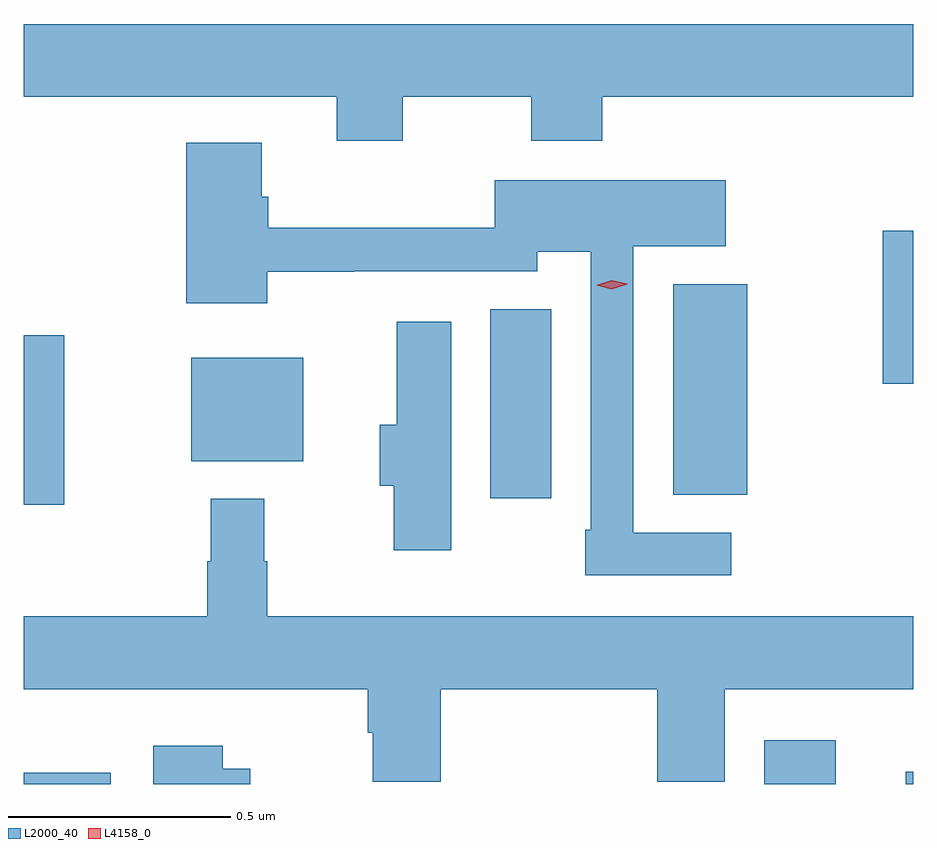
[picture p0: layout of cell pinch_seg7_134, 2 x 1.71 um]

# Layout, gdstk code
import gdstk
lib = gdstk.Library(unit=1e-6, precision=1e-09)
def R(c, l, rs):  # rectangles x0, y0, x1, y1
    for r in rs: c.add(gdstk.rectangle(r[:2], r[2:], *l))
def P(c, l, *ps):  # polygons
    for p in ps: c.add(gdstk.Polygon(p, *l))
L2000_40 = (2000, 40)
L4158_0 = (4158, 0)

pinch_seg7_134 = lib.new_cell('pinch_seg7_134')
R(pinch_seg7_134, L2000_40, [(898.011,1004.399,898.206,1004.424), (899.676,1004.399,899.837,1004.497), (899.994,1004.399,900.011,1004.426), (898.011,1005.027,898.102,1005.408), (899.06,1005.042,899.197,1005.467), (899.471,1005.049,899.638,1005.523), (898.388,1005.125,898.639,1005.358), (899.942,1005.299,900.011,1005.643)])
P(pinch_seg7_134, L2000_40, [(898.863,1005.944),(899.152,1005.944),(899.152,1005.845),(899.312,1005.845),(899.312,1005.944),(900.011,1005.944),(900.011,1006.108),(898.011,1006.108),(898.011,1005.944),(898.715,1005.944),(898.715,1005.845),(898.863,1005.845)],
  [(899.602,1004.964),(899.382,1004.964),(899.382,1005.608),(899.59,1005.608),(899.59,1005.757),(899.07,1005.757),(899.07,1005.65),(898.561,1005.65),(898.561,1005.72),(898.546,1005.72),(898.546,1005.841),(898.376,1005.841),(898.376,1005.48),(898.559,1005.48),(898.559,1005.551),(898.754,1005.551),(898.754,1005.552),(899.166,1005.552),(899.166,1005.596),(899.286,1005.596),(899.286,1004.971),(899.274,1004.971),(899.274,1004.868),(899.602,1004.868)],
  [(898.972,1005.439),(898.85,1005.439),(898.85,1005.207),(898.811,1005.207),(898.811,1005.07),(898.843,1005.07),(898.843,1004.925),(898.972,1004.925)],
  [(898.949,1004.612),(899.435,1004.612),(899.435,1004.404),(899.587,1004.404),(899.587,1004.612),(900.011,1004.612),(900.011,1004.776),(898.559,1004.776),(898.559,1004.9),(898.552,1004.9),(898.552,1005.04),(898.431,1005.04),(898.431,1004.9),(898.423,1004.9),(898.423,1004.776),(898.011,1004.776),(898.011,1004.612),(898.784,1004.612),(898.784,1004.514),(898.796,1004.514),(898.796,1004.404),(898.949,1004.404)],
  [(898.52,1004.433),(898.458,1004.433),(898.458,1004.485),(898.302,1004.485),(898.302,1004.399),(898.52,1004.399)])
P(pinch_seg7_134, L4158_0, [(899.333,1005.512),(899.298,1005.521),(899.298,1005.521),(899.298,1005.521),(899.333,1005.532),(899.368,1005.524),(899.368,1005.523),(899.368,1005.523)])

lib.write_gds('pinch_seg7_134.gds')
